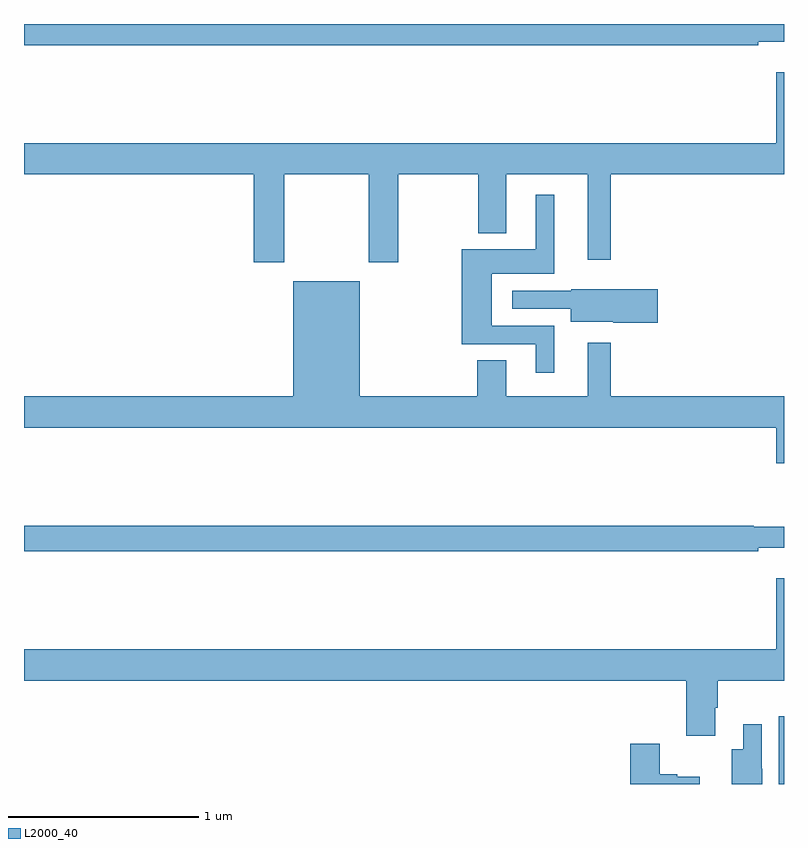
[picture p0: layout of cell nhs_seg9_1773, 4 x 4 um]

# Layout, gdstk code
import gdstk
lib = gdstk.Library(unit=1e-6, precision=1e-09)
def R(c, l, rs):  # rectangles x0, y0, x1, y1
    for r in rs: c.add(gdstk.rectangle(r[:2], r[2:], *l))
def P(c, l, *ps):  # polygons
    for p in ps: c.add(gdstk.Polygon(p, *l))
L2000_40 = (2000, 40)

nhs_seg9_1773 = lib.new_cell('nhs_seg9_1773')
R(nhs_seg9_1773, L2000_40, [(212.973,1238.5,213,1238.856)])
P(nhs_seg9_1773, L2000_40, [(212.864,1242.407),(213,1242.407),(213,1242.5),(209,1242.5),(209,1242.388),(212.864,1242.388)],
  [(210.369,1241.708),(210.814,1241.708),(210.814,1241.247),(210.969,1241.247),(210.969,1241.708),(211.39,1241.708),(211.39,1241.399),(211.537,1241.399),(211.537,1241.708),(211.967,1241.708),(211.967,1241.259),(212.089,1241.259),(212.089,1241.708),(213,1241.708),(213,1242.247),(212.96,1242.247),(212.96,1241.872),(209,1241.872),(209,1241.708),(210.209,1241.708),(210.209,1241.247),(210.369,1241.247)],
  [(211.792,1240.911),(211.462,1240.911),(211.462,1241.186),(211.792,1241.186),(211.792,1241.602),(211.694,1241.602),(211.694,1241.314),(211.304,1241.314),(211.304,1240.815),(211.694,1240.815),(211.694,1240.665),(211.792,1240.665)],
  [(213,1240.54),(212.089,1240.54),(212.089,1240.822),(211.967,1240.822),(211.967,1240.54),(211.537,1240.54),(211.537,1240.73),(211.385,1240.73),(211.385,1240.54),(210.766,1240.54),(210.766,1241.146),(210.416,1241.146),(210.416,1240.54),(209,1240.54),(209,1240.376),(212.96,1240.376),(212.96,1240.188),(213,1240.188)],
  [(212.335,1241.105),(211.881,1241.105),(211.881,1241.097),(211.569,1241.097),(211.569,1241.001),(211.877,1241.001),(211.877,1240.934),(212.1,1240.934),(212.1,1240.927),(212.335,1240.927)],
  [(212.864,1239.743),(213,1239.743),(213,1239.853),(212.842,1239.853),(212.842,1239.86),(209,1239.86),(209,1239.724),(212.864,1239.724)],
  [(212.638,1238.902),(212.651,1238.902),(212.651,1239.044),(213,1239.044),(213,1239.583),(212.96,1239.583),(212.96,1239.208),(209,1239.208),(209,1239.044),(212.486,1239.044),(212.486,1238.754),(212.638,1238.754)],
  [(212.886,1238.579),(212.884,1238.579),(212.884,1238.815),(212.786,1238.815),(212.786,1238.683),(212.726,1238.683),(212.726,1238.5),(212.886,1238.5)],
  [(212.557,1238.539),(212.439,1238.539),(212.439,1238.552),(212.346,1238.552),(212.346,1238.713),(212.192,1238.713),(212.192,1238.5),(212.557,1238.5)])

lib.write_gds('nhs_seg9_1773.gds')
